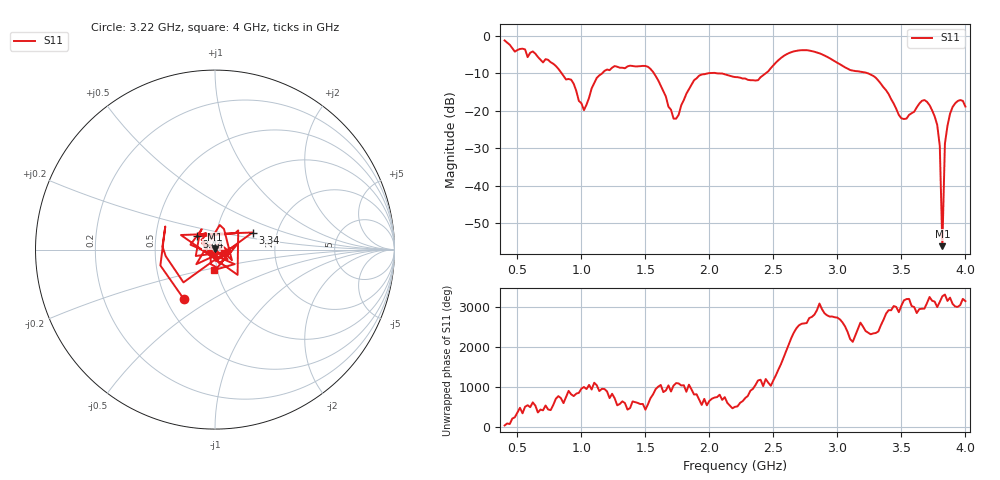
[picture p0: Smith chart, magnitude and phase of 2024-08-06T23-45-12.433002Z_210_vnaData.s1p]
!Created with skrf (http://scikit-rf.org).
# Hz S RI R 50.0
!freq ReS11 ImS11
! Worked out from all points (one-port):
!   181 points, 400 MHz to 4 GHz, reference 50 ohm
!   lowest |S11| = -56.1 dB at 3.82 GHz (marker M1), VSWR 1.00, Z = 50.1 + j0.0751 ohm
!   |S11| at or under -10 dB: 1.567 GHz to 1.987 GHz (419.2 MHz wide, 23.6 % of centre); 2.079 GHz to 2.438 GHz (359.4 MHz wide, 15.9 % of centre); 3.241 GHz to end of sweep (the widest 3 of 4)
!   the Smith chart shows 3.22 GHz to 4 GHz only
!   S11 on the Smith chart (normalised r, x): 3.22 GHz: 0.61, -0.38; 3.34 GHz: 1.49, +0.30; 3.44 GHz: 0.81, +0.12; 4 GHz: 0.96, -0.22
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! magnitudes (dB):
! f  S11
! 400 MHz  -1.2
! 860 MHz  -10.7
! 940 MHz  -12.8
! 1.02 GHz  -19.8
! 1.12 GHz  -11.2
! 1.3 GHz  -8.5
! 1.52 GHz  -8.2
! 1.6 GHz  -11.8
! 1.72 GHz  -22.1
! 1.76 GHz  -21.0
! 1.92 GHz  -10.6
! 2.2 GHz  -11.0
! 2.38 GHz  -11.8
! 2.66 GHz  -4.1
! 3.1 GHz  -9.1
! 3.22 GHz  -9.8
! 3.34 GHz  -12.8
! 3.44 GHz  -18.1
! 3.5 GHz  -22.0
! 3.56 GHz  -21.1
! 3.68 GHz  -17.1
! 3.78 GHz  -23.8
! 3.8 GHz  -29.4
! 3.82 GHz  -56.1
! 3.84 GHz  -28.8
! 3.86 GHz  -24.0
! 3.92 GHz  -18.0
! 4 GHz  -18.9
